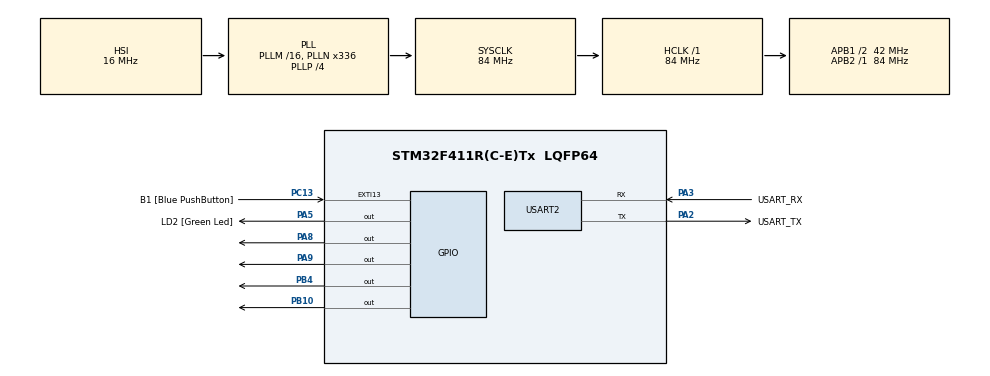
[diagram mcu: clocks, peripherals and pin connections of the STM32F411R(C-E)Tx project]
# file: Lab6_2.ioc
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FREERTOS.Tasks01=defaultTask,0,128,StartDefaultTask,Default,NULL,Dynamic,NULL,NULL
FREERTOS.configUSE_TIMERS=1
Mcu.Family=STM32F4
Mcu.Name=STM32F411R(C-E)Tx
Mcu.Package=LQFP64
NVIC.PriorityGroup=NVIC_PRIORITYGROUP_4
PA13.GPIO_Label=TMS
PA13.Mode=Serial_Wire
PA13.Signal=SYS_JTMS-SWDIO
PA14.GPIO_Label=TCK
PA14.Mode=Serial_Wire
PA14.Signal=SYS_JTCK-SWCLK
PA2.GPIO_Label=USART_TX
PA2.Mode=Asynchronous
PA2.Signal=USART2_TX
PA3.GPIO_Label=USART_RX
PA3.Mode=Asynchronous
PA3.Signal=USART2_RX
PA5.GPIO_Label=LD2 [Green Led]
PA5.Signal=GPIO_Output
PA8.Signal=GPIO_Output
PA9.Signal=GPIO_Output
PB10.Signal=GPIO_Output
PB3.GPIO_Label=SWO
PB3.Signal=SYS_JTDO-SWO
PB4.Signal=GPIO_Output
PC13-ANTI_TAMP.GPIO_Label=B1 [Blue PushButton]
PC13-ANTI_TAMP.GPIO_ModeDefaultEXTI=GPIO_MODE_IT_FALLING
PC13-ANTI_TAMP.Signal=GPXTI13
PC14-OSC32_IN.Mode=LSE-External-Oscillator
PC14-OSC32_IN.Signal=RCC_OSC32_IN
PC15-OSC32_OUT.Mode=LSE-External-Oscillator
PC15-OSC32_OUT.Signal=RCC_OSC32_OUT
PH0\ -\ OSC_IN.Mode=HSE-External-Clock-Source
PH0\ -\ OSC_IN.Signal=RCC_OSC_IN
PH1\ -\ OSC_OUT.Mode=HSE-External-Clock-Source
PH1\ -\ OSC_OUT.Signal=RCC_OSC_OUT
ProjectManager.HeapSize=0x200
ProjectManager.StackSize=0x400
ProjectManager.TargetToolchain=STM32CubeIDE
RCC.48MHZClocksFreq_Value=84000000
RCC.AHBFreq_Value=84000000
RCC.APB1CLKDivider=RCC_HCLK_DIV2
RCC.APB1Freq_Value=42000000
RCC.APB1TimFreq_Value=84000000
RCC.APB2Freq_Value=84000000
RCC.APB2TimFreq_Value=84000000
RCC.CortexFreq_Value=84000000
RCC.FLatency-AdvancedSettings=FLASH_LATENCY_2
RCC.HCLKFreq_Value=84000000
RCC.HSE_VALUE=8000000
RCC.HSI_VALUE=16000000
RCC.PLLN=336
RCC.PLLP=RCC_PLLP_DIV4
RCC.SYSCLKFreq_VALUE=84000000
RCC.SYSCLKSource=RCC_SYSCLKSOURCE_PLLCLK
RCC.VCOOutputFreq_Value=336000000
USART2.VirtualMode=VM_ASYNC
VP_FREERTOS_VS_CMSIS_V1.Mode=CMSIS_V1
board=NUCLEO-F411RE

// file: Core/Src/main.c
/* USER CODE BEGIN Header */
/**
  ******************************************************************************
  * @file           : main.c
  * @brief          : Main program body
  ******************************************************************************
  * @attention
  *
  * Copyright (c) 2026 STMicroelectronics.
  * All rights reserved.
  *
  * This software is licensed under terms that can be found in the LICENSE file
  * in the root directory of this software component.
  * If no LICENSE file comes with this software, it is provided AS-IS.
  *
  ******************************************************************************
  */
/* USER CODE END Header */
#include "main.h"
#include "cmsis_os.h"

UART_HandleTypeDef huart2;

osThreadId defaultTaskHandle;
/* USER CODE BEGIN PV */
osTimerId timer1Handle;
osTimerId timer2Handle;
osTimerId timer3Handle;
osTimerId timer4Handle;
/* USER CODE END PV */

void SystemClock_Config(void);
static void MX_GPIO_Init(void);
static void MX_USART2_UART_Init(void);
void StartDefaultTask(void const * argument);

/* USER CODE BEGIN PFP */
void Timer1_Callback(void const *argument);
void Timer2_Callback(void const *argument);
void Timer3_Callback(void const *argument);
void Timer4_Callback(void const *argument);
/* USER CODE END PFP */

int main(void)
{

  /* MCU Configuration--------------------------------------------------------*/

  /* Reset of all peripherals, Initializes the Flash interface and the Systick. */
  HAL_Init();

  /* Configure the system clock */
  SystemClock_Config();

  /* Initialize all configured peripherals */
  MX_GPIO_Init();
  MX_USART2_UART_Init();
  /* USER CODE BEGIN 2 */

  // Define Timers
  osTimerDef(Timer1, Timer1_Callback);
  osTimerDef(Timer2, Timer2_Callback);
  osTimerDef(Timer3, Timer3_Callback);
  osTimerDef(Timer4, Timer4_Callback);

  // Create Periodic Timers
  timer1Handle = osTimerCreate(osTimer(Timer1), osTimerPeriodic, NULL);
  timer2Handle = osTimerCreate(osTimer(Timer2), osTimerPeriodic, NULL);
  timer3Handle = osTimerCreate(osTimer(Timer3), osTimerPeriodic, NULL);
  timer4Handle = osTimerCreate(osTimer(Timer4), osTimerPeriodic, NULL);

  // Start timers with their respective periods
  osTimerStart(timer1Handle, 50);
  osTimerStart(timer2Handle, 18);
  osTimerStart(timer3Handle, 128);
  osTimerStart(timer4Handle, 64);

  /* USER CODE END 2 */

  /* Create the thread(s) */
  /* definition and creation of defaultTask */
  osThreadDef(defaultTask, StartDefaultTask, osPriorityNormal, 0, 128);
  defaultTaskHandle = osThreadCreate(osThread(defaultTask), NULL);

  /* Start scheduler */
  osKernelStart();

  /* We should never get here as control is now taken by the scheduler */

  /* Infinite loop */
  while (1)
  {

  }
}

void SystemClock_Config(void)
{
  RCC_OscInitTypeDef RCC_OscInitStruct = {0};
  RCC_ClkInitTypeDef RCC_ClkInitStruct = {0};

  /** Configure the main internal regulator output voltage
  */
  __HAL_RCC_PWR_CLK_ENABLE();
  __HAL_PWR_VOLTAGESCALING_CONFIG(PWR_REGULATOR_VOLTAGE_SCALE1);

  /** Initializes the RCC Oscillators according to the specified parameters
  * in the RCC_OscInitTypeDef structure.
  */
  RCC_OscInitStruct.OscillatorType = RCC_OSCILLATORTYPE_HSI;
  RCC_OscInitStruct.HSIState = RCC_HSI_ON;
  RCC_OscInitStruct.HSICalibrationValue = RCC_HSICALIBRATION_DEFAULT;
  RCC_OscInitStruct.PLL.PLLState = RCC_PLL_ON;
  RCC_OscInitStruct.PLL.PLLSource = RCC_PLLSOURCE_HSI;
  RCC_OscInitStruct.PLL.PLLM = 16;
  RCC_OscInitStruct.PLL.PLLN = 336;
  RCC_OscInitStruct.PLL.PLLP = RCC_PLLP_DIV4;
  RCC_OscInitStruct.PLL.PLLQ = 4;
  if (HAL_RCC_OscConfig(&RCC_OscInitStruct) != HAL_OK)
  {
    Error_Handler();
  }

  /** Initializes the CPU, AHB and APB buses clocks
  */
  RCC_ClkInitStruct.ClockType = RCC_CLOCKTYPE_HCLK|RCC_CLOCKTYPE_SYSCLK
                              |RCC_CLOCKTYPE_PCLK1|RCC_CLOCKTYPE_PCLK2;
  RCC_ClkInitStruct.SYSCLKSource = RCC_SYSCLKSOURCE_PLLCLK;
  RCC_ClkInitStruct.AHBCLKDivider = RCC_SYSCLK_DIV1;
  RCC_ClkInitStruct.APB1CLKDivider = RCC_HCLK_DIV2;
  RCC_ClkInitStruct.APB2CLKDivider = RCC_HCLK_DIV1;

  if (HAL_RCC_ClockConfig(&RCC_ClkInitStruct, FLASH_LATENCY_2) != HAL_OK)
  {
    Error_Handler();
  }
}

static void MX_USART2_UART_Init(void)
{

  huart2.Instance = USART2;
  huart2.Init.BaudRate = 115200;
  huart2.Init.WordLength = UART_WORDLENGTH_8B;
  huart2.Init.StopBits = UART_STOPBITS_1;
  huart2.Init.Parity = UART_PARITY_NONE;
  huart2.Init.Mode = UART_MODE_TX_RX;
  huart2.Init.HwFlowCtl = UART_HWCONTROL_NONE;
  huart2.Init.OverSampling = UART_OVERSAMPLING_16;
  if (HAL_UART_Init(&huart2) != HAL_OK)
  {
    Error_Handler();
  }

}

static void MX_GPIO_Init(void)
{
  GPIO_InitTypeDef GPIO_InitStruct = {0};

  /* GPIO Ports Clock Enable */
  __HAL_RCC_GPIOC_CLK_ENABLE();
  __HAL_RCC_GPIOH_CLK_ENABLE();
  __HAL_RCC_GPIOA_CLK_ENABLE();
  __HAL_RCC_GPIOB_CLK_ENABLE();

  /*Configure GPIO pin Output Level */
  HAL_GPIO_WritePin(GPIOA, LD2_Pin|GPIO_PIN_8|GPIO_PIN_9, GPIO_PIN_RESET);

  /*Configure GPIO pin Output Level */
  HAL_GPIO_WritePin(GPIOB, GPIO_PIN_10|GPIO_PIN_4, GPIO_PIN_RESET);

  /*Configure GPIO pin : B1_Pin */
  GPIO_InitStruct.Pin = B1_Pin;
  GPIO_InitStruct.Mode = GPIO_MODE_IT_FALLING;
  GPIO_InitStruct.Pull = GPIO_NOPULL;
  HAL_GPIO_Init(B1_GPIO_Port, &GPIO_InitStruct);

  /*Configure GPIO pins : LD2_Pin PA8 PA9 */
  GPIO_InitStruct.Pin = LD2_Pin|GPIO_PIN_8|GPIO_PIN_9;
  GPIO_InitStruct.Mode = GPIO_MODE_OUTPUT_PP;
  GPIO_InitStruct.Pull = GPIO_NOPULL;
  GPIO_InitStruct.Speed = GPIO_SPEED_FREQ_LOW;
  HAL_GPIO_Init(GPIOA, &GPIO_InitStruct);

  /*Configure GPIO pins : PB10 PB4 */
  GPIO_InitStruct.Pin = GPIO_PIN_10|GPIO_PIN_4;
  GPIO_InitStruct.Mode = GPIO_MODE_OUTPUT_PP;
  GPIO_InitStruct.Pull = GPIO_NOPULL;
  GPIO_InitStruct.Speed = GPIO_SPEED_FREQ_LOW;
  HAL_GPIO_Init(GPIOB, &GPIO_InitStruct);

}

/* USER CODE BEGIN 4 */

// Timer 1
void Timer1_Callback(void const *argument) {
  HAL_GPIO_TogglePin(GPIOA, GPIO_PIN_5);
}

void Timer2_Callback(void const *argument) {
  HAL_GPIO_TogglePin(GPIOA, GPIO_PIN_8);
}

void Timer3_Callback(void const *argument) {
  HAL_GPIO_TogglePin(GPIOB, GPIO_PIN_10);
}

void Timer4_Callback(void const *argument) {
  HAL_GPIO_TogglePin(GPIOB, GPIO_PIN_4);
}

/* USER CODE END 4 */

void StartDefaultTask(void const * argument)
{
  for(;;)
  {
    osDelay(1);
  }
}

void Error_Handler(void)
{
  __disable_irq();
  while (1)
  {
  }
}
